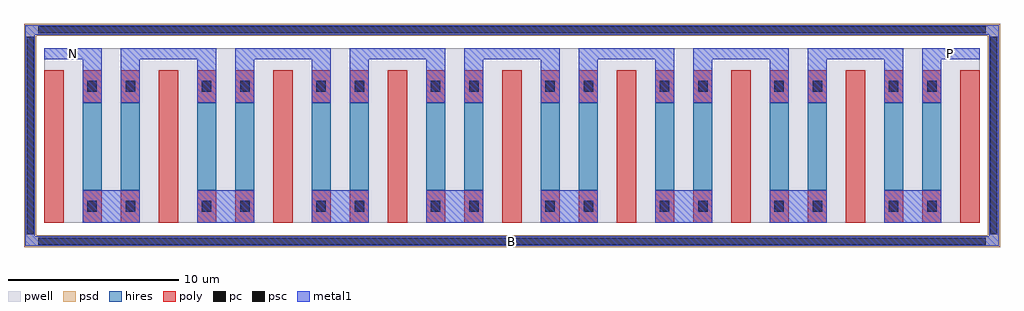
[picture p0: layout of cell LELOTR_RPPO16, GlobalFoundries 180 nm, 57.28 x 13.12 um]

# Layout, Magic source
magic
tech gf180mcuD
magscale 1 10
<< metal1 >>
rect 16 16 11440 128
rect 128 16 11328 128
rect 16 16 11440 128
rect 128 2496 11328 2608
rect 16 2496 11440 2608
rect 16 128 128 2496
rect 16 16 128 2608
rect 11328 128 11440 2496
rect 11328 16 11440 2608
rect 16 16 11440 128
rect 10544 2208 11216 2336
rect 240 2208 912 2336
<< psc >>
rect 168 32 248 112
rect 248 32 328 112
rect 328 32 408 112
rect 408 32 488 112
rect 488 32 568 112
rect 568 32 648 112
rect 648 32 728 112
rect 728 32 808 112
rect 808 32 888 112
rect 888 32 968 112
rect 968 32 1048 112
rect 1048 32 1128 112
rect 1128 32 1208 112
rect 1208 32 1288 112
rect 1288 32 1368 112
rect 1368 32 1448 112
rect 1448 32 1528 112
rect 1528 32 1608 112
rect 1608 32 1688 112
rect 1688 32 1768 112
rect 1768 32 1848 112
rect 1848 32 1928 112
rect 1928 32 2008 112
rect 2008 32 2088 112
rect 2088 32 2168 112
rect 2168 32 2248 112
rect 2248 32 2328 112
rect 2328 32 2408 112
rect 2408 32 2488 112
rect 2488 32 2568 112
rect 2568 32 2648 112
rect 2648 32 2728 112
rect 2728 32 2808 112
rect 2808 32 2888 112
rect 2888 32 2968 112
rect 2968 32 3048 112
rect 3048 32 3128 112
rect 3128 32 3208 112
rect 3208 32 3288 112
rect 3288 32 3368 112
rect 3368 32 3448 112
rect 3448 32 3528 112
rect 3528 32 3608 112
rect 3608 32 3688 112
rect 3688 32 3768 112
rect 3768 32 3848 112
rect 3848 32 3928 112
rect 3928 32 4008 112
rect 4008 32 4088 112
rect 4088 32 4168 112
rect 4168 32 4248 112
rect 4248 32 4328 112
rect 4328 32 4408 112
rect 4408 32 4488 112
rect 4488 32 4568 112
rect 4568 32 4648 112
rect 4648 32 4728 112
rect 4728 32 4808 112
rect 4808 32 4888 112
rect 4888 32 4968 112
rect 4968 32 5048 112
rect 5048 32 5128 112
rect 5128 32 5208 112
rect 5208 32 5288 112
rect 5288 32 5368 112
rect 5368 32 5448 112
rect 5448 32 5528 112
rect 5528 32 5608 112
rect 5608 32 5688 112
rect 5688 32 5768 112
rect 5768 32 5848 112
rect 5848 32 5928 112
rect 5928 32 6008 112
rect 6008 32 6088 112
rect 6088 32 6168 112
rect 6168 32 6248 112
rect 6248 32 6328 112
rect 6328 32 6408 112
rect 6408 32 6488 112
rect 6488 32 6568 112
rect 6568 32 6648 112
rect 6648 32 6728 112
rect 6728 32 6808 112
rect 6808 32 6888 112
rect 6888 32 6968 112
rect 6968 32 7048 112
rect 7048 32 7128 112
rect 7128 32 7208 112
rect 7208 32 7288 112
rect 7288 32 7368 112
rect 7368 32 7448 112
rect 7448 32 7528 112
rect 7528 32 7608 112
rect 7608 32 7688 112
rect 7688 32 7768 112
rect 7768 32 7848 112
rect 7848 32 7928 112
rect 7928 32 8008 112
rect 8008 32 8088 112
rect 8088 32 8168 112
rect 8168 32 8248 112
rect 8248 32 8328 112
rect 8328 32 8408 112
rect 8408 32 8488 112
rect 8488 32 8568 112
rect 8568 32 8648 112
rect 8648 32 8728 112
rect 8728 32 8808 112
rect 8808 32 8888 112
rect 8888 32 8968 112
rect 8968 32 9048 112
rect 9048 32 9128 112
rect 9128 32 9208 112
rect 9208 32 9288 112
rect 9288 32 9368 112
rect 9368 32 9448 112
rect 9448 32 9528 112
rect 9528 32 9608 112
rect 9608 32 9688 112
rect 9688 32 9768 112
rect 9768 32 9848 112
rect 9848 32 9928 112
rect 9928 32 10008 112
rect 10008 32 10088 112
rect 10088 32 10168 112
rect 10168 32 10248 112
rect 10248 32 10328 112
rect 10328 32 10408 112
rect 10408 32 10488 112
rect 10488 32 10568 112
rect 10568 32 10648 112
rect 10648 32 10728 112
rect 10728 32 10808 112
rect 10808 32 10888 112
rect 10888 32 10968 112
rect 10968 32 11048 112
rect 11048 32 11128 112
rect 11128 32 11208 112
rect 11208 32 11288 112
rect 168 2512 248 2592
rect 248 2512 328 2592
rect 328 2512 408 2592
rect 408 2512 488 2592
rect 488 2512 568 2592
rect 568 2512 648 2592
rect 648 2512 728 2592
rect 728 2512 808 2592
rect 808 2512 888 2592
rect 888 2512 968 2592
rect 968 2512 1048 2592
rect 1048 2512 1128 2592
rect 1128 2512 1208 2592
rect 1208 2512 1288 2592
rect 1288 2512 1368 2592
rect 1368 2512 1448 2592
rect 1448 2512 1528 2592
rect 1528 2512 1608 2592
rect 1608 2512 1688 2592
rect 1688 2512 1768 2592
rect 1768 2512 1848 2592
rect 1848 2512 1928 2592
rect 1928 2512 2008 2592
rect 2008 2512 2088 2592
rect 2088 2512 2168 2592
rect 2168 2512 2248 2592
rect 2248 2512 2328 2592
rect 2328 2512 2408 2592
rect 2408 2512 2488 2592
rect 2488 2512 2568 2592
rect 2568 2512 2648 2592
rect 2648 2512 2728 2592
rect 2728 2512 2808 2592
rect 2808 2512 2888 2592
rect 2888 2512 2968 2592
rect 2968 2512 3048 2592
rect 3048 2512 3128 2592
rect 3128 2512 3208 2592
rect 3208 2512 3288 2592
rect 3288 2512 3368 2592
rect 3368 2512 3448 2592
rect 3448 2512 3528 2592
rect 3528 2512 3608 2592
rect 3608 2512 3688 2592
rect 3688 2512 3768 2592
rect 3768 2512 3848 2592
rect 3848 2512 3928 2592
rect 3928 2512 4008 2592
rect 4008 2512 4088 2592
rect 4088 2512 4168 2592
rect 4168 2512 4248 2592
rect 4248 2512 4328 2592
rect 4328 2512 4408 2592
rect 4408 2512 4488 2592
rect 4488 2512 4568 2592
rect 4568 2512 4648 2592
rect 4648 2512 4728 2592
rect 4728 2512 4808 2592
rect 4808 2512 4888 2592
rect 4888 2512 4968 2592
rect 4968 2512 5048 2592
rect 5048 2512 5128 2592
rect 5128 2512 5208 2592
rect 5208 2512 5288 2592
rect 5288 2512 5368 2592
rect 5368 2512 5448 2592
rect 5448 2512 5528 2592
rect 5528 2512 5608 2592
rect 5608 2512 5688 2592
rect 5688 2512 5768 2592
rect 5768 2512 5848 2592
rect 5848 2512 5928 2592
rect 5928 2512 6008 2592
rect 6008 2512 6088 2592
rect 6088 2512 6168 2592
rect 6168 2512 6248 2592
rect 6248 2512 6328 2592
rect 6328 2512 6408 2592
rect 6408 2512 6488 2592
rect 6488 2512 6568 2592
rect 6568 2512 6648 2592
rect 6648 2512 6728 2592
rect 6728 2512 6808 2592
rect 6808 2512 6888 2592
rect 6888 2512 6968 2592
rect 6968 2512 7048 2592
rect 7048 2512 7128 2592
rect 7128 2512 7208 2592
rect 7208 2512 7288 2592
rect 7288 2512 7368 2592
rect 7368 2512 7448 2592
rect 7448 2512 7528 2592
rect 7528 2512 7608 2592
rect 7608 2512 7688 2592
rect 7688 2512 7768 2592
rect 7768 2512 7848 2592
rect 7848 2512 7928 2592
rect 7928 2512 8008 2592
rect 8008 2512 8088 2592
rect 8088 2512 8168 2592
rect 8168 2512 8248 2592
rect 8248 2512 8328 2592
rect 8328 2512 8408 2592
rect 8408 2512 8488 2592
rect 8488 2512 8568 2592
rect 8568 2512 8648 2592
rect 8648 2512 8728 2592
rect 8728 2512 8808 2592
rect 8808 2512 8888 2592
rect 8888 2512 8968 2592
rect 8968 2512 9048 2592
rect 9048 2512 9128 2592
rect 9128 2512 9208 2592
rect 9208 2512 9288 2592
rect 9288 2512 9368 2592
rect 9368 2512 9448 2592
rect 9448 2512 9528 2592
rect 9528 2512 9608 2592
rect 9608 2512 9688 2592
rect 9688 2512 9768 2592
rect 9768 2512 9848 2592
rect 9848 2512 9928 2592
rect 9928 2512 10008 2592
rect 10008 2512 10088 2592
rect 10088 2512 10168 2592
rect 10168 2512 10248 2592
rect 10248 2512 10328 2592
rect 10328 2512 10408 2592
rect 10408 2512 10488 2592
rect 10488 2512 10568 2592
rect 10568 2512 10648 2592
rect 10648 2512 10728 2592
rect 10728 2512 10808 2592
rect 10808 2512 10888 2592
rect 10888 2512 10968 2592
rect 10968 2512 11048 2592
rect 11048 2512 11128 2592
rect 11128 2512 11208 2592
rect 11208 2512 11288 2592
rect 32 152 112 232
rect 32 232 112 312
rect 32 312 112 392
rect 32 392 112 472
rect 32 472 112 552
rect 32 552 112 632
rect 32 632 112 712
rect 32 712 112 792
rect 32 792 112 872
rect 32 872 112 952
rect 32 952 112 1032
rect 32 1032 112 1112
rect 32 1112 112 1192
rect 32 1192 112 1272
rect 32 1272 112 1352
rect 32 1352 112 1432
rect 32 1432 112 1512
rect 32 1512 112 1592
rect 32 1592 112 1672
rect 32 1672 112 1752
rect 32 1752 112 1832
rect 32 1832 112 1912
rect 32 1912 112 1992
rect 32 1992 112 2072
rect 32 2072 112 2152
rect 32 2152 112 2232
rect 32 2232 112 2312
rect 32 2312 112 2392
rect 32 2392 112 2472
rect 11344 152 11424 232
rect 11344 232 11424 312
rect 11344 312 11424 392
rect 11344 392 11424 472
rect 11344 472 11424 552
rect 11344 552 11424 632
rect 11344 632 11424 712
rect 11344 712 11424 792
rect 11344 792 11424 872
rect 11344 872 11424 952
rect 11344 952 11424 1032
rect 11344 1032 11424 1112
rect 11344 1112 11424 1192
rect 11344 1192 11424 1272
rect 11344 1272 11424 1352
rect 11344 1352 11424 1432
rect 11344 1432 11424 1512
rect 11344 1512 11424 1592
rect 11344 1592 11424 1672
rect 11344 1672 11424 1752
rect 11344 1752 11424 1832
rect 11344 1832 11424 1912
rect 11344 1912 11424 1992
rect 11344 1992 11424 2072
rect 11344 2072 11424 2152
rect 11344 2152 11424 2232
rect 11344 2232 11424 2312
rect 11344 2312 11424 2392
rect 11344 2392 11424 2472
<< psd >>
rect 0 0 11456 144
rect 0 2480 11456 2624
rect 0 0 144 2624
rect 11312 0 11456 2624
use LELOTR_RES16 XA1 
transform 1 0 352 0 1 352
box 352 352 11104 2272
<< labels >>
flabel metal1 s 16 16 11440 128 0 FreeSans 400 0 0 0 B
port 3 nsew signal bidirectional
flabel metal1 s 10544 2208 11216 2336 0 FreeSans 400 0 0 0 P
port 1 nsew signal bidirectional
flabel metal1 s 240 2208 912 2336 0 FreeSans 400 0 0 0 N
port 2 nsew signal bidirectional
<< properties >>
string FIXED_BBOX 0 0 11456 2624
<< end >>

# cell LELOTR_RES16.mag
magic
tech gf180mcuD
magscale 1 10
<< poly >>
rect 336 -64 560 64
rect 784 -64 1008 64
rect 1680 -64 1904 64
rect 2128 -64 2352 64
rect 3024 -64 3248 64
rect 3472 -64 3696 64
rect 4368 -64 4592 64
rect 4816 -64 5040 64
rect 5712 -64 5936 64
rect 6160 -64 6384 64
rect 7056 -64 7280 64
rect 7504 -64 7728 64
rect 8400 -64 8624 64
rect 8848 -64 9072 64
rect 9744 -64 9968 64
rect 10192 -64 10416 64
rect 336 64 560 192
rect 784 64 1008 192
rect 1680 64 1904 192
rect 2128 64 2352 192
rect 3024 64 3248 192
rect 3472 64 3696 192
rect 4368 64 4592 192
rect 4816 64 5040 192
rect 5712 64 5936 192
rect 6160 64 6384 192
rect 7056 64 7280 192
rect 7504 64 7728 192
rect 8400 64 8624 192
rect 8848 64 9072 192
rect 9744 64 9968 192
rect 10192 64 10416 192
rect 336 192 560 320
rect 784 192 1008 320
rect 1680 192 1904 320
rect 2128 192 2352 320
rect 3024 192 3248 320
rect 3472 192 3696 320
rect 4368 192 4592 320
rect 4816 192 5040 320
rect 5712 192 5936 320
rect 6160 192 6384 320
rect 7056 192 7280 320
rect 7504 192 7728 320
rect 8400 192 8624 320
rect 8848 192 9072 320
rect 9744 192 9968 320
rect 10192 192 10416 320
rect 336 1344 560 1472
rect 784 1344 1008 1472
rect 1680 1344 1904 1472
rect 2128 1344 2352 1472
rect 3024 1344 3248 1472
rect 3472 1344 3696 1472
rect 4368 1344 4592 1472
rect 4816 1344 5040 1472
rect 5712 1344 5936 1472
rect 6160 1344 6384 1472
rect 7056 1344 7280 1472
rect 7504 1344 7728 1472
rect 8400 1344 8624 1472
rect 8848 1344 9072 1472
rect 9744 1344 9968 1472
rect 10192 1344 10416 1472
rect 336 1472 560 1600
rect 784 1472 1008 1600
rect 1680 1472 1904 1600
rect 2128 1472 2352 1600
rect 3024 1472 3248 1600
rect 3472 1472 3696 1600
rect 4368 1472 4592 1600
rect 4816 1472 5040 1600
rect 5712 1472 5936 1600
rect 6160 1472 6384 1600
rect 7056 1472 7280 1600
rect 7504 1472 7728 1600
rect 8400 1472 8624 1600
rect 8848 1472 9072 1600
rect 9744 1472 9968 1600
rect 10192 1472 10416 1600
rect 336 1600 560 1728
rect 784 1600 1008 1728
rect 1680 1600 1904 1728
rect 2128 1600 2352 1728
rect 3024 1600 3248 1728
rect 3472 1600 3696 1728
rect 4368 1600 4592 1728
rect 4816 1600 5040 1728
rect 5712 1600 5936 1728
rect 6160 1600 6384 1728
rect 7056 1600 7280 1728
rect 7504 1600 7728 1728
rect 8400 1600 8624 1728
rect 8848 1600 9072 1728
rect 9744 1600 9968 1728
rect 10192 1600 10416 1728
rect -112 -64 112 64
rect 1232 -64 1456 64
rect 2576 -64 2800 64
rect 3920 -64 4144 64
rect 5264 -64 5488 64
rect 6608 -64 6832 64
rect 7952 -64 8176 64
rect 9296 -64 9520 64
rect 10640 -64 10864 64
rect -112 64 112 192
rect 1232 64 1456 192
rect 2576 64 2800 192
rect 3920 64 4144 192
rect 5264 64 5488 192
rect 6608 64 6832 192
rect 7952 64 8176 192
rect 9296 64 9520 192
rect 10640 64 10864 192
rect -112 192 112 320
rect 1232 192 1456 320
rect 2576 192 2800 320
rect 3920 192 4144 320
rect 5264 192 5488 320
rect 6608 192 6832 320
rect 7952 192 8176 320
rect 9296 192 9520 320
rect 10640 192 10864 320
rect -112 320 112 448
rect 1232 320 1456 448
rect 2576 320 2800 448
rect 3920 320 4144 448
rect 5264 320 5488 448
rect 6608 320 6832 448
rect 7952 320 8176 448
rect 9296 320 9520 448
rect 10640 320 10864 448
rect -112 448 112 576
rect 1232 448 1456 576
rect 2576 448 2800 576
rect 3920 448 4144 576
rect 5264 448 5488 576
rect 6608 448 6832 576
rect 7952 448 8176 576
rect 9296 448 9520 576
rect 10640 448 10864 576
rect -112 576 112 704
rect 1232 576 1456 704
rect 2576 576 2800 704
rect 3920 576 4144 704
rect 5264 576 5488 704
rect 6608 576 6832 704
rect 7952 576 8176 704
rect 9296 576 9520 704
rect 10640 576 10864 704
rect -112 704 112 832
rect 1232 704 1456 832
rect 2576 704 2800 832
rect 3920 704 4144 832
rect 5264 704 5488 832
rect 6608 704 6832 832
rect 7952 704 8176 832
rect 9296 704 9520 832
rect 10640 704 10864 832
rect -112 832 112 960
rect 1232 832 1456 960
rect 2576 832 2800 960
rect 3920 832 4144 960
rect 5264 832 5488 960
rect 6608 832 6832 960
rect 7952 832 8176 960
rect 9296 832 9520 960
rect 10640 832 10864 960
rect -112 960 112 1088
rect 1232 960 1456 1088
rect 2576 960 2800 1088
rect 3920 960 4144 1088
rect 5264 960 5488 1088
rect 6608 960 6832 1088
rect 7952 960 8176 1088
rect 9296 960 9520 1088
rect 10640 960 10864 1088
rect -112 1088 112 1216
rect 1232 1088 1456 1216
rect 2576 1088 2800 1216
rect 3920 1088 4144 1216
rect 5264 1088 5488 1216
rect 6608 1088 6832 1216
rect 7952 1088 8176 1216
rect 9296 1088 9520 1216
rect 10640 1088 10864 1216
rect -112 1216 112 1344
rect 1232 1216 1456 1344
rect 2576 1216 2800 1344
rect 3920 1216 4144 1344
rect 5264 1216 5488 1344
rect 6608 1216 6832 1344
rect 7952 1216 8176 1344
rect 9296 1216 9520 1344
rect 10640 1216 10864 1344
rect -112 1344 112 1472
rect 1232 1344 1456 1472
rect 2576 1344 2800 1472
rect 3920 1344 4144 1472
rect 5264 1344 5488 1472
rect 6608 1344 6832 1472
rect 7952 1344 8176 1472
rect 9296 1344 9520 1472
rect 10640 1344 10864 1472
rect -112 1472 112 1600
rect 1232 1472 1456 1600
rect 2576 1472 2800 1600
rect 3920 1472 4144 1600
rect 5264 1472 5488 1600
rect 6608 1472 6832 1600
rect 7952 1472 8176 1600
rect 9296 1472 9520 1600
rect 10640 1472 10864 1600
rect -112 1600 112 1728
rect 1232 1600 1456 1728
rect 2576 1600 2800 1728
rect 3920 1600 4144 1728
rect 5264 1600 5488 1728
rect 6608 1600 6832 1728
rect 7952 1600 8176 1728
rect 9296 1600 9520 1728
rect 10640 1600 10864 1728
<< hires >>
rect 336 320 560 448
rect 784 320 1008 448
rect 1680 320 1904 448
rect 2128 320 2352 448
rect 3024 320 3248 448
rect 3472 320 3696 448
rect 4368 320 4592 448
rect 4816 320 5040 448
rect 5712 320 5936 448
rect 6160 320 6384 448
rect 7056 320 7280 448
rect 7504 320 7728 448
rect 8400 320 8624 448
rect 8848 320 9072 448
rect 9744 320 9968 448
rect 10192 320 10416 448
rect 336 448 560 576
rect 784 448 1008 576
rect 1680 448 1904 576
rect 2128 448 2352 576
rect 3024 448 3248 576
rect 3472 448 3696 576
rect 4368 448 4592 576
rect 4816 448 5040 576
rect 5712 448 5936 576
rect 6160 448 6384 576
rect 7056 448 7280 576
rect 7504 448 7728 576
rect 8400 448 8624 576
rect 8848 448 9072 576
rect 9744 448 9968 576
rect 10192 448 10416 576
rect 336 576 560 704
rect 784 576 1008 704
rect 1680 576 1904 704
rect 2128 576 2352 704
rect 3024 576 3248 704
rect 3472 576 3696 704
rect 4368 576 4592 704
rect 4816 576 5040 704
rect 5712 576 5936 704
rect 6160 576 6384 704
rect 7056 576 7280 704
rect 7504 576 7728 704
rect 8400 576 8624 704
rect 8848 576 9072 704
rect 9744 576 9968 704
rect 10192 576 10416 704
rect 336 704 560 832
rect 784 704 1008 832
rect 1680 704 1904 832
rect 2128 704 2352 832
rect 3024 704 3248 832
rect 3472 704 3696 832
rect 4368 704 4592 832
rect 4816 704 5040 832
rect 5712 704 5936 832
rect 6160 704 6384 832
rect 7056 704 7280 832
rect 7504 704 7728 832
rect 8400 704 8624 832
rect 8848 704 9072 832
rect 9744 704 9968 832
rect 10192 704 10416 832
rect 336 832 560 960
rect 784 832 1008 960
rect 1680 832 1904 960
rect 2128 832 2352 960
rect 3024 832 3248 960
rect 3472 832 3696 960
rect 4368 832 4592 960
rect 4816 832 5040 960
rect 5712 832 5936 960
rect 6160 832 6384 960
rect 7056 832 7280 960
rect 7504 832 7728 960
rect 8400 832 8624 960
rect 8848 832 9072 960
rect 9744 832 9968 960
rect 10192 832 10416 960
rect 336 960 560 1088
rect 784 960 1008 1088
rect 1680 960 1904 1088
rect 2128 960 2352 1088
rect 3024 960 3248 1088
rect 3472 960 3696 1088
rect 4368 960 4592 1088
rect 4816 960 5040 1088
rect 5712 960 5936 1088
rect 6160 960 6384 1088
rect 7056 960 7280 1088
rect 7504 960 7728 1088
rect 8400 960 8624 1088
rect 8848 960 9072 1088
rect 9744 960 9968 1088
rect 10192 960 10416 1088
rect 336 1088 560 1216
rect 784 1088 1008 1216
rect 1680 1088 1904 1216
rect 2128 1088 2352 1216
rect 3024 1088 3248 1216
rect 3472 1088 3696 1216
rect 4368 1088 4592 1216
rect 4816 1088 5040 1216
rect 5712 1088 5936 1216
rect 6160 1088 6384 1216
rect 7056 1088 7280 1216
rect 7504 1088 7728 1216
rect 8400 1088 8624 1216
rect 8848 1088 9072 1216
rect 9744 1088 9968 1216
rect 10192 1088 10416 1216
rect 336 1216 560 1344
rect 784 1216 1008 1344
rect 1680 1216 1904 1344
rect 2128 1216 2352 1344
rect 3024 1216 3248 1344
rect 3472 1216 3696 1344
rect 4368 1216 4592 1344
rect 4816 1216 5040 1344
rect 5712 1216 5936 1344
rect 6160 1216 6384 1344
rect 7056 1216 7280 1344
rect 7504 1216 7728 1344
rect 8400 1216 8624 1344
rect 8848 1216 9072 1344
rect 9744 1216 9968 1344
rect 10192 1216 10416 1344
<< pc >>
rect 392 64 504 128
rect 392 128 504 192
rect 840 64 952 128
rect 840 128 952 192
rect 1736 64 1848 128
rect 1736 128 1848 192
rect 2184 64 2296 128
rect 2184 128 2296 192
rect 3080 64 3192 128
rect 3080 128 3192 192
rect 3528 64 3640 128
rect 3528 128 3640 192
rect 4424 64 4536 128
rect 4424 128 4536 192
rect 4872 64 4984 128
rect 4872 128 4984 192
rect 5768 64 5880 128
rect 5768 128 5880 192
rect 6216 64 6328 128
rect 6216 128 6328 192
rect 7112 64 7224 128
rect 7112 128 7224 192
rect 7560 64 7672 128
rect 7560 128 7672 192
rect 8456 64 8568 128
rect 8456 128 8568 192
rect 8904 64 9016 128
rect 8904 128 9016 192
rect 9800 64 9912 128
rect 9800 128 9912 192
rect 10248 64 10360 128
rect 10248 128 10360 192
rect 392 1472 504 1536
rect 392 1536 504 1600
rect 840 1472 952 1536
rect 840 1536 952 1600
rect 1736 1472 1848 1536
rect 1736 1536 1848 1600
rect 2184 1472 2296 1536
rect 2184 1536 2296 1600
rect 3080 1472 3192 1536
rect 3080 1536 3192 1600
rect 3528 1472 3640 1536
rect 3528 1536 3640 1600
rect 4424 1472 4536 1536
rect 4424 1536 4536 1600
rect 4872 1472 4984 1536
rect 4872 1536 4984 1600
rect 5768 1472 5880 1536
rect 5768 1536 5880 1600
rect 6216 1472 6328 1536
rect 6216 1536 6328 1600
rect 7112 1472 7224 1536
rect 7112 1536 7224 1600
rect 7560 1472 7672 1536
rect 7560 1536 7672 1600
rect 8456 1472 8568 1536
rect 8456 1536 8568 1600
rect 8904 1472 9016 1536
rect 8904 1536 9016 1600
rect 9800 1472 9912 1536
rect 9800 1536 9912 1600
rect 10248 1472 10360 1536
rect 10248 1536 10360 1600
<< metal1 >>
rect 336 -64 1008 64
rect 1680 -64 2352 64
rect 3024 -64 3696 64
rect 4368 -64 5040 64
rect 5712 -64 6384 64
rect 7056 -64 7728 64
rect 8400 -64 9072 64
rect 9744 -64 10416 64
rect 336 64 1008 192
rect 1680 64 2352 192
rect 3024 64 3696 192
rect 4368 64 5040 192
rect 5712 64 6384 192
rect 7056 64 7728 192
rect 8400 64 9072 192
rect 9744 64 10416 192
rect 336 192 1008 320
rect 1680 192 2352 320
rect 3024 192 3696 320
rect 4368 192 5040 320
rect 5712 192 6384 320
rect 7056 192 7728 320
rect 8400 192 9072 320
rect 9744 192 10416 320
rect 336 1344 560 1472
rect 784 1344 1008 1472
rect 1680 1344 1904 1472
rect 2128 1344 2352 1472
rect 3024 1344 3248 1472
rect 3472 1344 3696 1472
rect 4368 1344 4592 1472
rect 4816 1344 5040 1472
rect 5712 1344 5936 1472
rect 6160 1344 6384 1472
rect 7056 1344 7280 1472
rect 7504 1344 7728 1472
rect 8400 1344 8624 1472
rect 8848 1344 9072 1472
rect 9744 1344 9968 1472
rect 10192 1344 10416 1472
rect 336 1472 560 1600
rect 784 1472 1008 1600
rect 1680 1472 1904 1600
rect 2128 1472 2352 1600
rect 3024 1472 3248 1600
rect 3472 1472 3696 1600
rect 4368 1472 4592 1600
rect 4816 1472 5040 1600
rect 5712 1472 5936 1600
rect 6160 1472 6384 1600
rect 7056 1472 7280 1600
rect 7504 1472 7728 1600
rect 8400 1472 8624 1600
rect 8848 1472 9072 1600
rect 9744 1472 9968 1600
rect 10192 1472 10416 1600
rect 336 1600 560 1728
rect 784 1600 1008 1728
rect 1680 1600 1904 1728
rect 2128 1600 2352 1728
rect 3024 1600 3248 1728
rect 3472 1600 3696 1728
rect 4368 1600 4592 1728
rect 4816 1600 5040 1728
rect 5712 1600 5936 1728
rect 6160 1600 6384 1728
rect 7056 1600 7280 1728
rect 7504 1600 7728 1728
rect 8400 1600 8624 1728
rect 8848 1600 9072 1728
rect 9744 1600 9968 1728
rect 10192 1600 10416 1728
rect 336 1728 560 1856
rect 784 1728 1008 1856
rect 1680 1728 1904 1856
rect 2128 1728 2352 1856
rect 3024 1728 3248 1856
rect 3472 1728 3696 1856
rect 4368 1728 4592 1856
rect 4816 1728 5040 1856
rect 5712 1728 5936 1856
rect 6160 1728 6384 1856
rect 7056 1728 7280 1856
rect 7504 1728 7728 1856
rect 8400 1728 8624 1856
rect 8848 1728 9072 1856
rect 9744 1728 9968 1856
rect 10192 1728 10416 1856
rect -112 1856 560 1984
rect -112 1856 560 1984
rect 784 1856 1904 1984
rect 10192 1856 10864 1984
rect 2128 1856 3248 1984
rect 3472 1856 4592 1984
rect 4816 1856 5936 1984
rect 6160 1856 7280 1984
rect 7504 1856 8624 1984
rect 8848 1856 9968 1984
rect 10192 1856 10864 1984
<< pwell >>
rect -112 -64 10864 1984
<< labels >>
flabel metal1 s -112 1856 560 1984 0 FreeSans 400 0 0 0 N
port 1 nsew signal bidirectional
flabel metal1 s 10192 1856 10864 1984 0 FreeSans 400 0 0 0 P
port 2 nsew signal bidirectional
<< properties >>
string FIXED_BBOX 0 0 10752 1920
<< end >>
